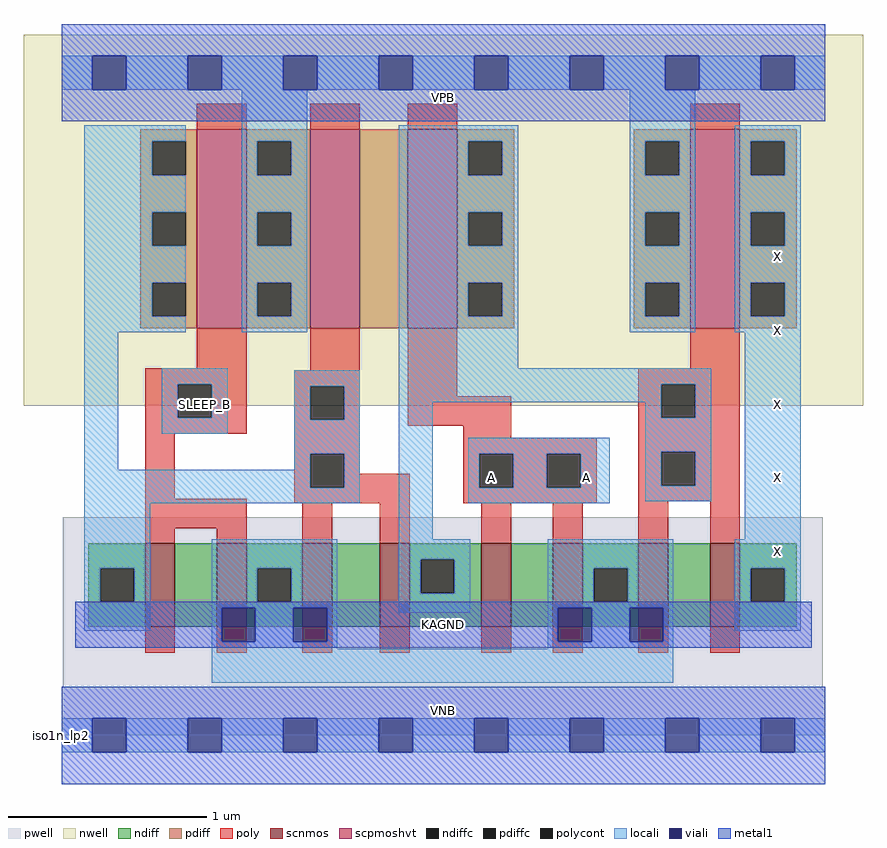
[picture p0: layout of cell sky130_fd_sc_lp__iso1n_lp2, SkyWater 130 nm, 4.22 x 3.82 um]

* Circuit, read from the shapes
.subckt sky130_fd_sc_lp__iso1n_lp2 A SLEEP_B KAGND VGND VNB VPB VPWR X
XM1 n1 SLEEP_B n2 VNB sky130_fd_pr__nfet_01v8 w=0.42 l=0.15
XM2 KAGND SLEEP_B n1 VNB sky130_fd_pr__nfet_01v8 w=0.42 l=0.15
XM3 n3 n2 KAGND VNB sky130_fd_pr__nfet_01v8 w=0.42 l=0.15
XM4 n4 n2 n3 VNB sky130_fd_pr__nfet_01v8 w=0.42 l=0.15
XM5 n5 A n4 VNB sky130_fd_pr__nfet_01v8 w=0.42 l=0.15
XM6 KAGND A n5 VNB sky130_fd_pr__nfet_01v8 w=0.42 l=0.15
XM7 n6 n4 KAGND VNB sky130_fd_pr__nfet_01v8 w=0.42 l=0.15
XM8 X n4 n6 VNB sky130_fd_pr__nfet_01v8 w=0.42 l=0.15
XM9 VPWR SLEEP_B n2 VPB sky130_fd_pr__pfet_01v8_hvt w=1 l=0.25
XM10 n7 n2 VPWR VPB sky130_fd_pr__pfet_01v8_hvt w=1 l=0.25
XM11 n4 A n7 VPB sky130_fd_pr__pfet_01v8_hvt w=1 l=0.25
XM12 X n4 VPWR VPB sky130_fd_pr__pfet_01v8_hvt w=1 l=0.25
.ends

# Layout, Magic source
magic
tech sky130A
magscale 1 2
<< nwell >>
rect -38 331 806 704
<< pwell >>
rect 1 49 765 219
rect 0 0 768 49
<< scnmos >>
rect 84 109 114 193
rect 156 109 186 193
rect 242 109 272 193
rect 320 109 350 193
rect 422 109 452 193
rect 494 109 524 193
rect 580 109 610 193
rect 652 109 682 193
<< scpmoshvt >>
rect 136 409 186 609
rect 250 409 300 609
rect 348 409 398 609
rect 632 409 682 609
<< ndiff >>
rect 27 168 84 193
rect 27 134 39 168
rect 73 134 84 168
rect 27 109 84 134
rect 114 109 156 193
rect 186 168 242 193
rect 186 134 197 168
rect 231 134 242 168
rect 186 109 242 134
rect 272 109 320 193
rect 350 177 422 193
rect 350 143 361 177
rect 395 143 422 177
rect 350 109 422 143
rect 452 109 494 193
rect 524 168 580 193
rect 524 134 535 168
rect 569 134 580 168
rect 524 109 580 134
rect 610 109 652 193
rect 682 168 739 193
rect 682 134 693 168
rect 727 134 739 168
rect 682 109 739 134
<< pdiff >>
rect 79 597 136 609
rect 79 563 91 597
rect 125 563 136 597
rect 79 526 136 563
rect 79 492 91 526
rect 125 492 136 526
rect 79 455 136 492
rect 79 421 91 455
rect 125 421 136 455
rect 79 409 136 421
rect 186 597 250 609
rect 186 563 197 597
rect 231 563 250 597
rect 186 526 250 563
rect 186 492 197 526
rect 231 492 250 526
rect 186 455 250 492
rect 186 421 197 455
rect 231 421 250 455
rect 186 409 250 421
rect 300 409 348 609
rect 398 597 455 609
rect 398 563 409 597
rect 443 563 455 597
rect 398 526 455 563
rect 398 492 409 526
rect 443 492 455 526
rect 398 455 455 492
rect 398 421 409 455
rect 443 421 455 455
rect 398 409 455 421
rect 575 597 632 609
rect 575 563 587 597
rect 621 563 632 597
rect 575 526 632 563
rect 575 492 587 526
rect 621 492 632 526
rect 575 455 632 492
rect 575 421 587 455
rect 621 421 632 455
rect 575 409 632 421
rect 682 597 739 609
rect 682 563 693 597
rect 727 563 739 597
rect 682 526 739 563
rect 682 492 693 526
rect 727 492 739 526
rect 682 455 739 492
rect 682 421 693 455
rect 727 421 739 455
rect 682 409 739 421
<< ndiffc >>
rect 39 134 73 168
rect 197 134 231 168
rect 361 143 395 177
rect 535 134 569 168
rect 693 134 727 168
<< pdiffc >>
rect 91 563 125 597
rect 91 492 125 526
rect 91 421 125 455
rect 197 563 231 597
rect 197 492 231 526
rect 197 421 231 455
rect 409 563 443 597
rect 409 492 443 526
rect 409 421 443 455
rect 587 563 621 597
rect 587 492 621 526
rect 587 421 621 455
rect 693 563 727 597
rect 693 492 727 526
rect 693 421 727 455
<< poly >>
rect 136 609 186 635
rect 250 609 300 635
rect 348 609 398 635
rect 632 609 682 635
rect 136 369 186 409
rect 84 353 186 369
rect 250 367 300 409
rect 84 319 117 353
rect 151 319 186 353
rect 84 303 186 319
rect 234 351 300 367
rect 234 317 250 351
rect 284 317 300 351
rect 84 238 114 303
rect 234 283 300 317
rect 348 341 398 409
rect 632 369 682 409
rect 580 353 682 369
rect 348 311 452 341
rect 234 249 250 283
rect 284 263 300 283
rect 404 299 452 311
rect 580 319 603 353
rect 637 319 682 353
rect 404 283 538 299
rect 284 249 350 263
rect 84 208 186 238
rect 234 233 350 249
rect 404 249 420 283
rect 454 249 488 283
rect 522 249 538 283
rect 404 233 538 249
rect 580 285 682 319
rect 580 251 603 285
rect 637 251 682 285
rect 580 235 682 251
rect 84 193 114 208
rect 156 193 186 208
rect 242 193 272 233
rect 320 193 350 233
rect 422 193 452 233
rect 494 193 524 233
rect 580 193 610 235
rect 652 193 682 235
rect 84 83 114 109
rect 156 83 186 109
rect 242 83 272 109
rect 320 83 350 109
rect 422 83 452 109
rect 494 83 524 109
rect 580 83 610 109
rect 652 83 682 109
<< polycont >>
rect 117 319 151 353
rect 250 317 284 351
rect 250 249 284 283
rect 603 319 637 353
rect 420 249 454 283
rect 488 249 522 283
rect 603 251 637 285
<< locali >>
rect 0 649 31 683
rect 65 649 127 683
rect 161 649 223 683
rect 257 649 319 683
rect 353 649 415 683
rect 449 649 511 683
rect 545 649 607 683
rect 641 649 703 683
rect 737 649 768 683
rect 23 597 125 613
rect 23 563 91 597
rect 23 526 125 563
rect 23 492 91 526
rect 23 455 125 492
rect 23 421 91 455
rect 23 405 125 421
rect 181 597 247 649
rect 181 563 197 597
rect 231 563 247 597
rect 181 526 247 563
rect 181 492 197 526
rect 231 492 247 526
rect 181 455 247 492
rect 181 421 197 455
rect 231 421 247 455
rect 181 405 247 421
rect 339 597 459 613
rect 339 563 409 597
rect 443 563 459 597
rect 339 526 459 563
rect 339 492 409 526
rect 443 492 459 526
rect 339 455 459 492
rect 339 421 409 455
rect 443 421 459 455
rect 23 267 57 405
rect 339 369 459 421
rect 571 597 637 649
rect 571 563 587 597
rect 621 563 637 597
rect 571 526 637 563
rect 571 492 587 526
rect 621 492 637 526
rect 571 455 637 492
rect 571 421 587 455
rect 621 421 637 455
rect 571 405 637 421
rect 677 597 743 613
rect 677 563 693 597
rect 727 563 743 597
rect 677 526 743 563
rect 677 492 693 526
rect 727 492 743 526
rect 677 455 743 492
rect 677 421 693 455
rect 727 421 743 455
rect 677 405 743 421
rect 101 353 167 369
rect 101 319 117 353
rect 151 319 167 353
rect 101 303 167 319
rect 234 351 300 367
rect 234 317 250 351
rect 284 317 300 351
rect 234 283 300 317
rect 234 267 250 283
rect 23 249 250 267
rect 284 249 300 283
rect 23 233 300 249
rect 339 353 653 369
rect 339 335 603 353
rect 23 168 89 233
rect 339 197 373 335
rect 587 319 603 335
rect 637 319 653 353
rect 409 283 551 299
rect 409 249 420 283
rect 454 249 488 283
rect 522 249 551 283
rect 409 233 551 249
rect 587 285 653 319
rect 587 251 603 285
rect 637 251 653 285
rect 587 235 653 251
rect 687 197 743 405
rect 23 134 39 168
rect 73 134 89 168
rect 23 105 89 134
rect 151 168 277 197
rect 151 134 197 168
rect 231 134 277 168
rect 151 128 277 134
rect 151 94 161 128
rect 195 94 233 128
rect 267 94 277 128
rect 339 177 411 197
rect 339 143 361 177
rect 395 143 411 177
rect 339 123 411 143
rect 489 168 615 197
rect 489 134 535 168
rect 569 134 615 168
rect 489 128 615 134
rect 151 87 277 94
rect 489 94 499 128
rect 533 94 571 128
rect 605 94 615 128
rect 677 168 743 197
rect 677 134 693 168
rect 727 134 743 168
rect 677 105 743 134
rect 489 87 615 94
rect 151 53 615 87
rect 0 -17 31 17
rect 65 -17 127 17
rect 161 -17 223 17
rect 257 -17 319 17
rect 353 -17 415 17
rect 449 -17 511 17
rect 545 -17 607 17
rect 641 -17 703 17
rect 737 -17 768 17
<< viali >>
rect 31 649 65 683
rect 127 649 161 683
rect 223 649 257 683
rect 319 649 353 683
rect 415 649 449 683
rect 511 649 545 683
rect 607 649 641 683
rect 703 649 737 683
rect 161 94 195 128
rect 233 94 267 128
rect 499 94 533 128
rect 571 94 605 128
rect 31 -17 65 17
rect 127 -17 161 17
rect 223 -17 257 17
rect 319 -17 353 17
rect 415 -17 449 17
rect 511 -17 545 17
rect 607 -17 641 17
rect 703 -17 737 17
<< metal1 >>
rect 0 683 768 715
rect 0 649 31 683
rect 65 649 127 683
rect 161 649 223 683
rect 257 649 319 683
rect 353 649 415 683
rect 449 649 511 683
rect 545 649 607 683
rect 641 649 703 683
rect 737 649 768 683
rect 0 617 768 649
rect 14 128 754 134
rect 14 94 161 128
rect 195 94 233 128
rect 267 94 499 128
rect 533 94 571 128
rect 605 94 754 128
rect 14 88 754 94
rect 0 17 768 49
rect 0 -17 31 17
rect 65 -17 127 17
rect 161 -17 223 17
rect 257 -17 319 17
rect 353 -17 415 17
rect 449 -17 511 17
rect 545 -17 607 17
rect 641 -17 703 17
rect 737 -17 768 17
rect 0 -49 768 -17
<< labels >>
flabel pwell s 0 0 768 49 0 FreeSans 200 0 0 0 VNB
port 5 nsew ground bidirectional
flabel nwell s 0 617 768 666 0 FreeSans 200 0 0 0 VPB
port 6 nsew power bidirectional
rlabel comment s 0 0 0 0 4 iso1n_lp2
flabel metal1 s 14 88 754 134 0 FreeSans 340 0 0 0 KAGND
port 3 nsew ground input
flabel metal1 s 0 617 768 666 0 FreeSans 340 0 0 0 VPWR
port 7 nsew power bidirectional
flabel metal1 s 0 0 768 49 0 FreeSans 340 0 0 0 VGND
port 4 nsew ground bidirectional
flabel locali s 127 316 161 350 0 FreeSans 340 0 0 0 SLEEP_B
port 2 nsew signal input
flabel locali s 415 242 449 276 0 FreeSans 340 0 0 0 A
port 1 nsew signal input
flabel locali s 511 242 545 276 0 FreeSans 340 0 0 0 A
port 1 nsew signal input
flabel locali s 703 464 737 498 0 FreeSans 340 0 0 0 X
port 8 nsew signal output
flabel locali s 703 168 737 202 0 FreeSans 340 0 0 0 X
port 8 nsew signal output
flabel locali s 703 242 737 276 0 FreeSans 340 0 0 0 X
port 8 nsew signal output
flabel locali s 703 316 737 350 0 FreeSans 340 0 0 0 X
port 8 nsew signal output
flabel locali s 703 390 737 424 0 FreeSans 340 0 0 0 X
port 8 nsew signal output
<< properties >>
string LEFsite unit
string LEFclass CORE
string FIXED_BBOX 0 0 768 666
string GDS_FILE $PDKPATH/libs.ref/sky130_fd_sc_lp/gds/sky130_fd_sc_lp.gds
string LEFsymmetry X Y R90
string GDS_END 2848660
string GDS_START 2841500
<< end >>
